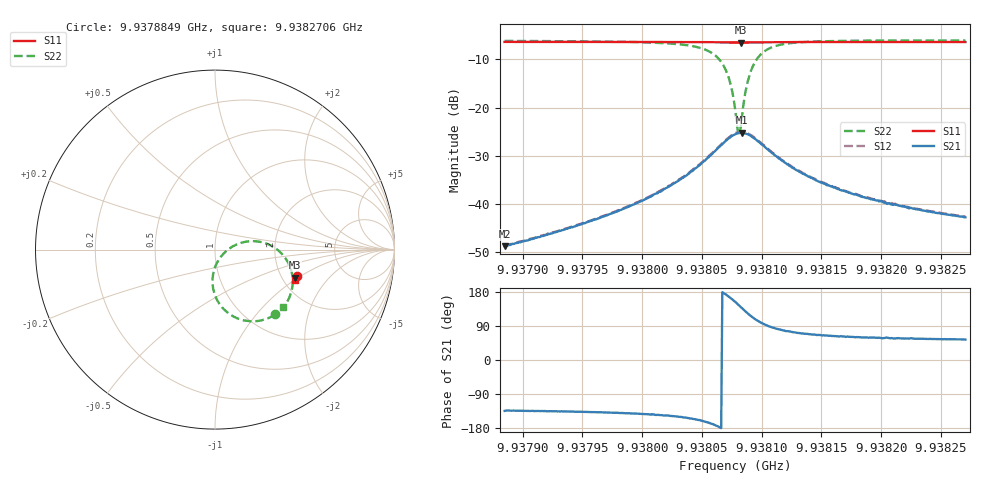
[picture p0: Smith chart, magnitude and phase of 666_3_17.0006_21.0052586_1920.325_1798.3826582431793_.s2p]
#  HZ  S  RI  R  50.00
! Rohde & Schwarz Vector Network Analyzer
! Rohde-Schwarz,ZNB20-2Port,1311601062101988,3.16
! Created: UTC 3/20/2024, 11:21:58 PM
! freq[Hz]  re:S11  im:S11  re:S21  im:S21  re:S12  im:S12  re:S22  im:S22
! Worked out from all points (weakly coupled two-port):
!   401 points, 9.9378849 GHz to 9.9382706 GHz, reference 50 ohm
!   highest |S21| = -25.23 dB at 9.9380835 GHz (marker M1); lowest = -48.8 dB at 9.9378849 GHz (marker M2)
!   lowest |S11| = -6.5 dB at 9.9380826 GHz (marker M3), VSWR 2.80, Z = 118 - j47.3 ohm
!   |S11| at or under -10 dB: nowhere
!   |S22| runs from -25.7 to -6.1 dB; largest |S21 - S12| = 0.0017
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9.93788488e9  0.4583 -0.1464  -0.00255 -0.0026  -0.00257 -0.00263  0.3349 -0.3614
9.93794949e9  0.4564 -0.1511  -0.0045 -0.00421  -0.00465 -0.00422  0.3133 -0.3741
9.9380141e9  0.4538 -0.1557  -0.0109 -0.00769  -0.0111 -0.00764  0.2548 -0.395
9.93804496e9  0.4519 -0.1582  -0.0216 -0.00928  -0.0221 -0.00921  0.1641 -0.3953
9.93806136e9  0.4498 -0.1591  -0.0354 -0.00483  -0.036 -0.00453  0.0595 -0.342
9.93806714e9  0.4486 -0.159  -0.0416 0.000806  -0.0427 0.00167  0.0145 -0.2857
9.938071e9  0.448 -0.1586  -0.0456 0.00729  -0.0465 0.0081  -0.00748 -0.2296
9.93807486e9  0.4475 -0.1578  -0.0478 0.0157  -0.0486 0.0168  -0.0132 -0.1581
9.93807775e9  0.4473 -0.1571  -0.0475 0.0232  -0.0481 0.0246  4.33e-05 -0.0981
9.93807968e9  0.4473 -0.1566  -0.0459 0.0283  -0.0465 0.0296  0.019 -0.0594
9.93808064e9  0.4474 -0.1563  -0.0449 0.0307  -0.0453 0.0321  0.0315 -0.0413
9.93808257e9  0.4474 -0.156  -0.0418 0.0353  -0.0422 0.0369  0.0624 -0.008
9.93808354e9  0.4477 -0.1555  -0.04 0.0374  -0.0403 0.039  0.0801 0.00579
9.93808643e9  0.4483 -0.1551  -0.0335 0.0423  -0.0334 0.0438  0.1398 0.0358
9.93808932e9  0.449 -0.1548  -0.0264 0.045  -0.0262 0.0464  0.2002 0.0468
9.93809318e9  0.45 -0.1548  -0.0173 0.0453  -0.017 0.0468  0.274 0.0376
9.93809897e9  0.4509 -0.1554  -0.00711 0.0421  -0.0063 0.0432  0.3529 -0.00492
9.93811343e9  0.4522 -0.1574  0.00437 0.0302  0.00517 0.0306  0.4257 -0.1198
9.93814236e9  0.4522 -0.1608  0.00724 0.0172  0.00759 0.017  0.4265 -0.2299
9.93817322e9  0.4513 -0.1633  0.0063 0.0114  0.00658 0.0114  0.4103 -0.2745
9.93820698e9  0.4502 -0.1658  0.00543 0.0086  0.00556 0.00868  0.3974 -0.2983
9.93827062e9  0.4483 -0.1703  0.00429 0.00587  0.00444 0.00587  0.3813 -0.3202
